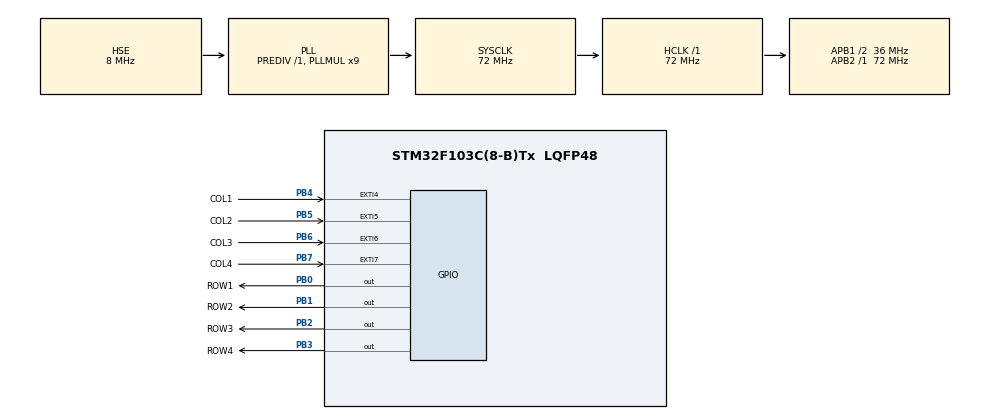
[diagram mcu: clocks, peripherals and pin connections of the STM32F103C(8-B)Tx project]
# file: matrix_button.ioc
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Mcu.Family=STM32F1
Mcu.Name=STM32F103C(8-B)Tx
Mcu.Package=LQFP48
NVIC.EXTI4_IRQn=true\:2\:0\:true\:false\:true\:true\:true
NVIC.EXTI9_5_IRQn=true\:2\:0\:true\:false\:true\:true\:true
NVIC.PriorityGroup=NVIC_PRIORITYGROUP_4
PA13.Mode=Serial_Wire
PA13.Signal=SYS_JTMS-SWDIO
PA14.Mode=Serial_Wire
PA14.Signal=SYS_JTCK-SWCLK
PB0.GPIO_Label=ROW1
PB0.GPIO_Speed=GPIO_SPEED_FREQ_HIGH
PB0.PinState=GPIO_PIN_SET
PB0.Signal=GPIO_Output
PB1.GPIO_Label=ROW2
PB1.GPIO_Speed=GPIO_SPEED_FREQ_HIGH
PB1.PinState=GPIO_PIN_SET
PB1.Signal=GPIO_Output
PB2.GPIO_Label=ROW3
PB2.GPIO_Speed=GPIO_SPEED_FREQ_HIGH
PB2.PinState=GPIO_PIN_SET
PB2.Signal=GPIO_Output
PB3.GPIO_Label=ROW4
PB3.GPIO_Speed=GPIO_SPEED_FREQ_HIGH
PB3.PinState=GPIO_PIN_SET
PB3.Signal=GPIO_Output
PB4.GPIO_Label=COL1
PB4.GPIO_PuPd=GPIO_PULLDOWN
PB4.Signal=GPXTI4
PB5.GPIO_Label=COL2
PB5.GPIO_PuPd=GPIO_PULLDOWN
PB5.Signal=GPXTI5
PB6.GPIO_Label=COL3
PB6.GPIO_PuPd=GPIO_PULLDOWN
PB6.Signal=GPXTI6
PB7.GPIO_Label=COL4
PB7.GPIO_ModeDefaultEXTI=GPIO_MODE_IT_RISING
PB7.GPIO_PuPd=GPIO_PULLDOWN
PB7.Signal=GPXTI7
PD0-OSC_IN.Mode=HSE-External-Oscillator
PD0-OSC_IN.Signal=RCC_OSC_IN
PD1-OSC_OUT.Mode=HSE-External-Oscillator
PD1-OSC_OUT.Signal=RCC_OSC_OUT
ProjectManager.HeapSize=0x200
ProjectManager.StackSize=0x400
ProjectManager.TargetToolchain=MDK-ARM V5.27
RCC.AHBFreq_Value=72000000
RCC.APB1CLKDivider=RCC_HCLK_DIV2
RCC.APB1Freq_Value=36000000
RCC.APB1TimFreq_Value=72000000
RCC.APB2Freq_Value=72000000
RCC.APB2TimFreq_Value=72000000
RCC.HCLKFreq_Value=72000000
RCC.PLLMUL=RCC_PLL_MUL9
RCC.PLLSourceVirtual=RCC_PLLSOURCE_HSE
RCC.SYSCLKFreq_VALUE=72000000
RCC.SYSCLKSource=RCC_SYSCLKSOURCE_PLLCLK
RCC.USBFreq_Value=72000000
board=custom

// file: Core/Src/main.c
/* USER CODE BEGIN Header */
/**
  ******************************************************************************
  * @file           : main.c
  * @brief          : Main program body
  ******************************************************************************
  * @attention
  *
  * <h2><center>&copy; Copyright (c) 2021 STMicroelectronics.
  * All rights reserved.</center></h2>
  *
  * This software component is licensed by ST under BSD 3-Clause license,
  * the "License"; You may not use this file except in compliance with the
  * License. You may obtain a copy of the License at:
  *                        opensource.org/licenses/BSD-3-Clause
  *
  ******************************************************************************
  */
/* USER CODE END Header */
#include "main.h"

/* USER CODE BEGIN Includes */
#include <string.h>
/* USER CODE END Includes */

/* USER CODE BEGIN PV */
uint8_t button[4][4];
uint8_t j;
/* USER CODE END PV */

void SystemClock_Config(void);
static void MX_GPIO_Init(void);
/* USER CODE BEGIN PFP */
uint8_t Scan_Row(GPIO_TypeDef *GPIOx, uint16_t Col, uint8_t stt)
{
  uint8_t flag = 0;
  HAL_GPIO_WritePin(GPIOx, ROW1_Pin, GPIO_PIN_RESET);
  if(HAL_GPIO_ReadPin(GPIOx, Col) == 0)
  {
    button[0][stt] = 1;
    flag = 1;
  }
	HAL_GPIO_WritePin(GPIOx, ROW1_Pin, GPIO_PIN_SET);
  HAL_GPIO_WritePin(GPIOx, ROW2_Pin, GPIO_PIN_RESET);
  if(HAL_GPIO_ReadPin(GPIOx, Col) == 0)
  {
    button[1][stt] = 1;
		flag = 1;
  }
	HAL_GPIO_WritePin(GPIOx, ROW2_Pin, GPIO_PIN_SET);
  HAL_GPIO_WritePin(GPIOx, ROW3_Pin, GPIO_PIN_RESET);
  if(HAL_GPIO_ReadPin(GPIOx, Col) == 0)
  {
    button[2][stt] = 1;
    flag = 1;
  }
  HAL_GPIO_WritePin(GPIOx, ROW3_Pin, GPIO_PIN_SET);
  HAL_GPIO_WritePin(GPIOx, ROW4_Pin, GPIO_PIN_RESET);
  if(HAL_GPIO_ReadPin(GPIOx, Col) == 0)
  {
    button[3][stt] = 1;
    flag = 1;
  }
  HAL_GPIO_WritePin(GPIOx, ROW4_Pin, GPIO_PIN_SET);
  return flag;
}
/* USER CODE END PFP */

int main(void)
{

  /* MCU Configuration--------------------------------------------------------*/

  /* Reset of all peripherals, Initializes the Flash interface and the Systick. */
  HAL_Init();

  /* Configure the system clock */
  SystemClock_Config();

  /* Initialize all configured peripherals */
  MX_GPIO_Init();

  /* Infinite loop */
  while (1)
  {

  }
}

void SystemClock_Config(void)
{
  RCC_OscInitTypeDef RCC_OscInitStruct = {0};
  RCC_ClkInitTypeDef RCC_ClkInitStruct = {0};

  /** Initializes the RCC Oscillators according to the specified parameters
  * in the RCC_OscInitTypeDef structure.
  */
  RCC_OscInitStruct.OscillatorType = RCC_OSCILLATORTYPE_HSE;
  RCC_OscInitStruct.HSEState = RCC_HSE_ON;
  RCC_OscInitStruct.HSEPredivValue = RCC_HSE_PREDIV_DIV1;
  RCC_OscInitStruct.HSIState = RCC_HSI_ON;
  RCC_OscInitStruct.PLL.PLLState = RCC_PLL_ON;
  RCC_OscInitStruct.PLL.PLLSource = RCC_PLLSOURCE_HSE;
  RCC_OscInitStruct.PLL.PLLMUL = RCC_PLL_MUL9;
  if (HAL_RCC_OscConfig(&RCC_OscInitStruct) != HAL_OK)
  {
    Error_Handler();
  }
  /** Initializes the CPU, AHB and APB buses clocks
  */
  RCC_ClkInitStruct.ClockType = RCC_CLOCKTYPE_HCLK|RCC_CLOCKTYPE_SYSCLK
                              |RCC_CLOCKTYPE_PCLK1|RCC_CLOCKTYPE_PCLK2;
  RCC_ClkInitStruct.SYSCLKSource = RCC_SYSCLKSOURCE_PLLCLK;
  RCC_ClkInitStruct.AHBCLKDivider = RCC_SYSCLK_DIV1;
  RCC_ClkInitStruct.APB1CLKDivider = RCC_HCLK_DIV2;
  RCC_ClkInitStruct.APB2CLKDivider = RCC_HCLK_DIV1;

  if (HAL_RCC_ClockConfig(&RCC_ClkInitStruct, FLASH_LATENCY_2) != HAL_OK)
  {
    Error_Handler();
  }
}

static void MX_GPIO_Init(void)
{
  GPIO_InitTypeDef GPIO_InitStruct = {0};

  /* GPIO Ports Clock Enable */
  __HAL_RCC_GPIOD_CLK_ENABLE();
  __HAL_RCC_GPIOB_CLK_ENABLE();
  __HAL_RCC_GPIOA_CLK_ENABLE();

  /*Configure GPIO pin Output Level */
  HAL_GPIO_WritePin(GPIOB, ROW1_Pin|ROW2_Pin|ROW3_Pin|ROW4_Pin, GPIO_PIN_SET);

  /*Configure GPIO pins : ROW1_Pin ROW2_Pin ROW3_Pin ROW4_Pin */
  GPIO_InitStruct.Pin = ROW1_Pin|ROW2_Pin|ROW3_Pin|ROW4_Pin;
  GPIO_InitStruct.Mode = GPIO_MODE_OUTPUT_PP;
  GPIO_InitStruct.Pull = GPIO_NOPULL;
  GPIO_InitStruct.Speed = GPIO_SPEED_FREQ_HIGH;
  HAL_GPIO_Init(GPIOB, &GPIO_InitStruct);

  /*Configure GPIO pins : COL1_Pin COL2_Pin COL3_Pin COL4_Pin */
  GPIO_InitStruct.Pin = COL1_Pin|COL2_Pin|COL3_Pin|COL4_Pin;
  GPIO_InitStruct.Mode = GPIO_MODE_IT_RISING;
  GPIO_InitStruct.Pull = GPIO_PULLDOWN;
  HAL_GPIO_Init(GPIOB, &GPIO_InitStruct);

  /* EXTI interrupt init*/
  HAL_NVIC_SetPriority(EXTI4_IRQn, 2, 0);
  HAL_NVIC_EnableIRQ(EXTI4_IRQn);

  HAL_NVIC_SetPriority(EXTI9_5_IRQn, 2, 0);
  HAL_NVIC_EnableIRQ(EXTI9_5_IRQn);

}

/* USER CODE BEGIN 4 */
void HAL_GPIO_EXTI_Callback(uint16_t GPIO_Pin)
{
	memset(button, 0, sizeof(button));
  if(GPIO_Pin == COL1_Pin)
  {
    j = 1;
    //HAL_GPIO_WritePin(GPIOB, COL1_Pin, GPIO_PIN_SET);
    if (Scan_Row(GPIOB, COL1_Pin, 0))
    {
      return;
    }
  }
  if(GPIO_Pin == COL2_Pin)
  {
    j = 2;
    //HAL_GPIO_WritePin(GPIOB, COL2_Pin, GPIO_PIN_SET);
    if (Scan_Row(GPIOB, COL2_Pin, 1))
    {
      return;
    }
  }
  if(GPIO_Pin == COL3_Pin)
  {
    j = 3;
    //HAL_GPIO_WritePin(GPIOB, COL3_Pin, GPIO_PIN_SET);
    if (Scan_Row(GPIOB, COL3_Pin, 2))
    {
      return;
    }
  }
  if(GPIO_Pin == COL4_Pin)
  {
    j = 4;
    //HAL_GPIO_WritePin(GPIOB, COL4_Pin, GPIO_PIN_SET);
    if (Scan_Row(GPIOB, COL4_Pin, 3))
    {
      return;
    }
  }
}
/* USER CODE END 4 */

void Error_Handler(void)
{
  __disable_irq();
  while (1)
  {
  }
}

/************************ (C) COPYRIGHT STMicroelectronics *****END OF FILE****/
